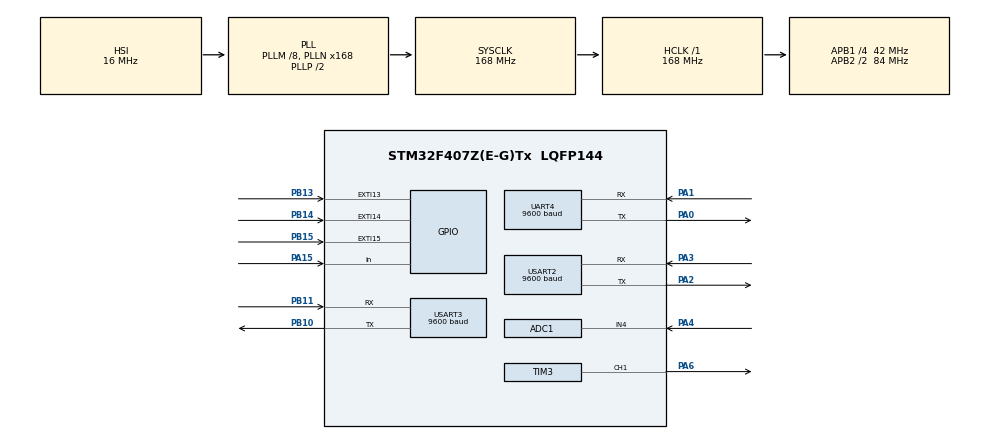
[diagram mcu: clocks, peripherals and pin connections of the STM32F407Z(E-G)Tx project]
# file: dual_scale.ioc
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ADC1.Channel-1\#ChannelRegularConversion=ADC_CHANNEL_4
ADC1.NbrOfConversionFlag=1
ADC1.Rank-1\#ChannelRegularConversion=1
ADC1.SamplingTime-1\#ChannelRegularConversion=ADC_SAMPLETIME_3CYCLES
ADC1.master=1
Dma.Request0=USART2_TX
Dma.Request1=USART2_RX
Dma.Request2=USART3_RX
Dma.Request3=USART3_TX
Dma.USART2_RX.1.Direction=DMA_PERIPH_TO_MEMORY
Dma.USART2_RX.1.FIFOMode=DMA_FIFOMODE_DISABLE
Dma.USART2_RX.1.Instance=DMA1_Stream5
Dma.USART2_RX.1.MemDataAlignment=DMA_MDATAALIGN_BYTE
Dma.USART2_RX.1.MemInc=DMA_MINC_ENABLE
Dma.USART2_RX.1.Mode=DMA_NORMAL
Dma.USART2_RX.1.PeriphDataAlignment=DMA_PDATAALIGN_BYTE
Dma.USART2_RX.1.PeriphInc=DMA_PINC_DISABLE
Dma.USART2_RX.1.Priority=DMA_PRIORITY_LOW
Dma.USART2_TX.0.Direction=DMA_MEMORY_TO_PERIPH
Dma.USART2_TX.0.FIFOMode=DMA_FIFOMODE_DISABLE
Dma.USART2_TX.0.Instance=DMA1_Stream6
Dma.USART2_TX.0.MemDataAlignment=DMA_MDATAALIGN_BYTE
Dma.USART2_TX.0.MemInc=DMA_MINC_ENABLE
Dma.USART2_TX.0.Mode=DMA_NORMAL
Dma.USART2_TX.0.PeriphDataAlignment=DMA_PDATAALIGN_BYTE
Dma.USART2_TX.0.PeriphInc=DMA_PINC_DISABLE
Dma.USART2_TX.0.Priority=DMA_PRIORITY_LOW
Dma.USART3_RX.2.Direction=DMA_PERIPH_TO_MEMORY
Dma.USART3_RX.2.FIFOMode=DMA_FIFOMODE_DISABLE
Dma.USART3_RX.2.Instance=DMA1_Stream1
Dma.USART3_RX.2.MemDataAlignment=DMA_MDATAALIGN_BYTE
Dma.USART3_RX.2.MemInc=DMA_MINC_ENABLE
Dma.USART3_RX.2.Mode=DMA_NORMAL
Dma.USART3_RX.2.PeriphDataAlignment=DMA_PDATAALIGN_BYTE
Dma.USART3_RX.2.PeriphInc=DMA_PINC_DISABLE
Dma.USART3_RX.2.Priority=DMA_PRIORITY_LOW
Dma.USART3_TX.3.Direction=DMA_MEMORY_TO_PERIPH
Dma.USART3_TX.3.FIFOMode=DMA_FIFOMODE_DISABLE
Dma.USART3_TX.3.Instance=DMA1_Stream3
Dma.USART3_TX.3.MemDataAlignment=DMA_MDATAALIGN_BYTE
Dma.USART3_TX.3.MemInc=DMA_MINC_ENABLE
Dma.USART3_TX.3.Mode=DMA_NORMAL
Dma.USART3_TX.3.PeriphDataAlignment=DMA_PDATAALIGN_BYTE
Dma.USART3_TX.3.PeriphInc=DMA_PINC_DISABLE
Dma.USART3_TX.3.Priority=DMA_PRIORITY_LOW
IWDG.Prescaler=IWDG_PRESCALER_128
Mcu.Family=STM32F4
Mcu.Name=STM32F407Z(E-G)Tx
Mcu.Package=LQFP144
NVIC.DMA1_Stream1_IRQn=true\:0\:0\:false\:false\:true\:false\:true\:true
NVIC.DMA1_Stream3_IRQn=true\:0\:0\:false\:false\:true\:false\:true\:true
NVIC.DMA1_Stream5_IRQn=true\:0\:0\:false\:false\:true\:false\:true\:true
NVIC.DMA1_Stream6_IRQn=true\:0\:0\:false\:false\:true\:false\:true\:true
NVIC.EXTI15_10_IRQn=true\:0\:0\:false\:false\:true\:true\:true\:true
NVIC.PriorityGroup=NVIC_PRIORITYGROUP_4
NVIC.TIM2_IRQn=true\:0\:0\:false\:false\:true\:true\:true\:true
NVIC.UART4_IRQn=true\:3\:0\:false\:false\:true\:true\:true\:true
NVIC.USART2_IRQn=true\:0\:0\:false\:false\:true\:true\:true\:true
NVIC.USART3_IRQn=true\:0\:0\:false\:false\:true\:true\:true\:true
PA0-WKUP.Mode=Asynchronous
PA0-WKUP.Signal=UART4_TX
PA1.Mode=Asynchronous
PA1.Signal=UART4_RX
PA13.Mode=Serial_Wire
PA13.Signal=SYS_JTMS-SWDIO
PA14.Mode=Serial_Wire
PA14.Signal=SYS_JTCK-SWCLK
PA15.GPIO_PuPd=GPIO_PULLUP
PA15.Signal=GPIO_Input
PA2.Mode=Asynchronous
PA2.Signal=USART2_TX
PA3.Mode=Asynchronous
PA3.Signal=USART2_RX
PA4.Signal=ADCx_IN4
PA6.Signal=S_TIM3_CH1
PB10.Mode=Asynchronous
PB10.Signal=USART3_TX
PB11.Mode=Asynchronous
PB11.Signal=USART3_RX
PB13.GPIO_ModeDefaultEXTI=GPIO_MODE_IT_FALLING
PB13.GPIO_PuPd=GPIO_PULLUP
PB13.Signal=GPXTI13
PB14.GPIO_ModeDefaultEXTI=GPIO_MODE_IT_FALLING
PB14.GPIO_PuPd=GPIO_PULLUP
PB14.Signal=GPXTI14
PB15.GPIO_ModeDefaultEXTI=GPIO_MODE_IT_FALLING
PB15.GPIO_PuPd=GPIO_PULLUP
PB15.Signal=GPXTI15
PH0-OSC_IN.Mode=HSE-External-Oscillator
PH0-OSC_IN.Signal=RCC_OSC_IN
PH1-OSC_OUT.Mode=HSE-External-Oscillator
PH1-OSC_OUT.Signal=RCC_OSC_OUT
ProjectManager.HeapSize=0x200
ProjectManager.StackSize=0x1000
ProjectManager.TargetToolchain=MDK-ARM V5.32
RCC.48MHZClocksFreq_Value=84000000
RCC.AHBFreq_Value=168000000
RCC.APB1CLKDivider=RCC_HCLK_DIV4
RCC.APB1Freq_Value=42000000
RCC.APB1TimFreq_Value=84000000
RCC.APB2CLKDivider=RCC_HCLK_DIV2
RCC.APB2Freq_Value=84000000
RCC.APB2TimFreq_Value=168000000
RCC.CortexFreq_Value=168000000
RCC.HCLKFreq_Value=168000000
RCC.HSE_VALUE=8000000
RCC.HSI_VALUE=16000000
RCC.LSE_VALUE=32768
RCC.PLLM=8
RCC.PLLN=168
RCC.SYSCLKFreq_VALUE=168000000
RCC.SYSCLKSource=RCC_SYSCLKSOURCE_PLLCLK
RCC.VCOOutputFreq_Value=336000000
SH.ADCx_IN4.0=ADC1_IN4,IN4
SH.S_TIM3_CH1.0=TIM3_CH1,PWM Generation1 CH1
TIM2.AutoReloadPreload=TIM_AUTORELOAD_PRELOAD_ENABLE
TIM2.Period=999
TIM2.Prescaler=8399
TIM3.Channel-PWM\ Generation1\ CH1=TIM_CHANNEL_1
TIM3.Period=499
TIM3.Prescaler=83
UART4.BaudRate=9600
UART4.VirtualMode=Asynchronous
USART2.BaudRate=9600
USART2.VirtualMode=VM_ASYNC
USART3.BaudRate=9600
USART3.VirtualMode=VM_ASYNC
VP_IWDG_VS_IWDG.Mode=IWDG_Activate
VP_TIM10_VS_ClockSourceINT.Mode=Enable_Timer
VP_TIM2_VS_ClockSourceINT.Mode=Internal
board=custom

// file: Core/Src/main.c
/* USER CODE BEGIN Header */
/**
  ******************************************************************************
  * @file           : main.c
  * @brief          : Main program body
  ******************************************************************************
  * @attention
  *
  * Copyright (c) 2026 STMicroelectronics.
  * All rights reserved.
  *
  * This software is licensed under terms that can be found in the LICENSE file
  * in the root directory of this software component.
  * If no LICENSE file comes with this software, it is provided AS-IS.
  *
  ******************************************************************************
  */
/* USER CODE END Header */
#include "main.h"
#include "adc.h"
#include "dma.h"
#include "iwdg.h"
#include "tim.h"
#include "usart.h"
#include "gpio.h"

/* USER CODE BEGIN Includes */
#include "dwt_time.h"
#include "qsh_drv.h"
#include "dbg_uart.h"
#include "app/app_zero.h"
#include "keys.h"
#include "digit_tube.h"
#include "beeper.h"
#include "app/app_scale.h"
#include "app/app_calib.h"
#include "app/app_prep.h"
/* USER CODE END Includes */

/* USER CODE BEGIN PD */

/* —— 自动休眠（2026-11-15：改为“睡前打标记 + 软复位”方案）——
   连续 SLEEP_QUIET_MS 内实时质量都在 ±SLEEP_BAND_G 内，且无称量事件/
   清零/预备/录制/按键，则 2 短鸣 → 数码管亮度 0 → BKP 打标记 → 软复位。
   复位后的“睡眠启动”不启动 IWDG、直接 STOP；按键 EXTI 唤醒后整机复位，
   回到正常启动（IWDG 重新开启）。原因：IWDG 由 LSI 驱动，在 STOP 里仍然
   计数，不这么做会被每 5.58~15.4 s 复位一次，根本睡不住。 */
#ifndef SLEEP_AUTO_ENABLE
#define SLEEP_AUTO_ENABLE     1        /* 调试期置 0（或 -DSLEEP_AUTO_ENABLE=0）整体禁用 */
#endif
#define SLEEP_QUIET_MS        300000U    /* 5 分钟空载窗口 */
#define SLEEP_BAND_G          3.0
#define SLEEP_BEEP_SETTLE_MS  350U
#define SLEEP_BKP_MAGIC       0x57444753UL  /* "WDGS"：BKP0R 睡眠请求标记 */

/* —— 电池低压检测（2026-11-15）——
   PA4/ADC1_IN4：12V—100k—PA4—20k—GND，分压比 6。
   低于 11.4V 报警、高于 11.6V 清除（0.2V 迟滞）；3 短鸣 + 数码管
   "11.4U" 闪 10s → 直接休眠。低电期间禁用 KEY4 标定；10s 内长按中键
   可取消强制休眠（应急使用）。 */
#define BAT_WARN_MV      11400U          /* 报警门限 */
#define BAT_CLEAR_MV     11600U          /* 清除门限（迟滞 +0.2V）*/
#define BAT_VREF_MV      3300U
#define BAT_ADC_MAX      4095U
#define BAT_DIV          6U              /* (100k+20k)/20k */
#define BAT_N            16U             /* 中值滤波样本数 */
#define BAT_SLEEP_MS     10000U          /* 提醒后强制休眠延时 */

/* 调试期置 1：STOP 时保持 SWD（DBGMCU_CR.DBG_STOP）；量产必须为 0 */
#ifndef SLEEP_KEEP_SWD
#define SLEEP_KEEP_SWD        0
#endif

/* USER CODE END PD */

/* USER CODE BEGIN PV */
static AppScale g_scale;
static AlgoParams app_params_bench;
static AppZero g_zero;
static AppPrep g_prep;
static uint8_t g_rdLevel, g_rdActive, g_prevSt;
static uint8_t g_prevZero;
static double g_rdMass;
static uint32_t g_rdHoldUntil;
static double g_sampleT;
static uint32_t g_lastDispTick;
static uint8_t g_prevRecArm = 0U;  /* g_recArm 沿检测（算法暂停/恢复）*/
static uint8_t g_warmupBeep = 1U;  /* 上电建基线阶段："---" 闪烁同步短鸣（首次 ready 后关）*/
static uint8_t g_blinkOn = 0U;     /* "---" 亮半拍沿检测（每周期只响一次，防 200ms 刷屏连响）*/
#if (SLEEP_AUTO_ENABLE != 0)
static uint8_t  g_quietArmed = 0U;   /* 空载计时已启动 */
static uint32_t g_quietT0 = 0U;      /* 空载计时起点（HAL tick）*/
static uint8_t  g_sleepPending = 0U; /* 已 2 短鸣，等响完进 STOP */
static uint32_t g_sleepAt = 0U;      /* 计划进 STOP 的时刻 */
#endif
static uint8_t g_bootIwdgReset = 0U; /* 本次启动是 IWDG 复位（供启动日志）*/
static uint8_t g_bkpOk = 1U;         /* 正常启动时 BKP0R 写/读自检结果 */
static uint8_t  g_key4Armed = 1U;    /* KEY4 开机 10 s 窗口内可触发标定 */
static uint8_t  g_key4Held = 0U;     /* KEY4 按住计时中 */
static uint32_t g_key4T0 = 0U;       /* KEY4 按下时刻 */
static uint8_t  g_calReq = 0U;       /* 已连响三下，等建基线完成后进标定 */
static uint8_t  g_calBeep = 0U;      /* 待补响“连响三下”（避开忙时丢弃）*/
static uint32_t g_batMv = 0U;        /* 最近一次电池电压（mV）*/
static uint32_t g_batChkTick = 0U;   /* 上次检测时刻；0 = 还没测过 */
static uint32_t g_lowBatT0 = 0U;     /* 低电报警起始时刻 */
static uint8_t  g_lowBat = 0U;       /* 当前处于低电提醒 */
static uint8_t  g_lowBatCancel = 0U; /* 用户已取消强制休眠 */
static uint8_t  g_lowBatMuted = 0U;  /* 本次开机不再重复报警 */
static uint8_t  g_batLowEver = 0U;   /* 本次开机出现过低电（禁 KEY4 标定）*/
/* USER CODE END PV */

void SystemClock_Config(void);

/* USER CODE BEGIN 0 */

/* u64 → 十进制字符串（不依赖 printf 的 %llu 实现） */
static void u64str(uint64_t v, char *out)
{
  char tmp[21];
  uint8_t n = 0U;

  if (v == 0U)
  {
    out[0] = '0';
    out[1] = '\0';
    return;
  }
  while ((v > 0U) && (n < sizeof(tmp)))
  {
    tmp[n++] = (char)('0' + (v % 10U));
    v /= 10U;
  }
  while (n > 0U)
  {
    *out++ = tmp[--n];
  }
  *out = '\0';
}

static void EmitEvent(const char *name)
{
  char tb[21];
  u64str(DwtTime_NowUs(), tb);
  Dbg_Line("# EVENT %s %s", name, tb);
}

static void HeartbeatOnce(void)
{
  QshStat_t st[QSH_NCH];

  QshDrv_GetStats(st);
  Dbg_Line("# STAT A ok=%lu crc=%lu fe=%lu tx=%lu ack=%lu fail=%lu z=%lu drop=%lu | "
           "B ok=%lu crc=%lu fe=%lu tx=%lu ack=%lu fail=%lu z=%lu drop=%lu ready=%u",
           st[0].readOk, st[0].crcErr, st[0].frameErr, st[0].txBusy,
           st[0].cfgAck, st[0].cfgFail, st[0].zeroAck, st[0].ringDrop,
           st[1].readOk, st[1].crcErr, st[1].frameErr, st[1].txBusy,
           st[1].cfgAck, st[1].cfgFail, st[1].zeroAck, st[1].ringDrop,
           (unsigned int)QshDrv_Ready());
}

/* —— 独立看门狗（2026-11-15）——
   参数由 CubeMX 的 `MX_IWDG_Init()` 决定（当前 .ioc：预分频 128 + RLR 4095）：
     典型 16.38 s @32 kHz；最快 11.15 s（LSI 47 kHz）~ 最慢 30.84 s（17 kHz）。
   Flash 擦除最大按 4 s，余量充足；代价是卡死要 11~31 s 才复位。
   喂狗统一写 KR=0xAAAA，与预分频无关；改预分频只需改 .ioc，不用动这里。
   option byte 必须是软件启动（IWDG_SW=1），否则复位关不掉它（睡眠方案依赖这点）。 */
void AppWdg_Feed(void)
{
  IWDG->KR = 0xAAAAU;                 /* 重装计数 */
}

/* —— 睡眠启动判定（2026-11-15）——
   只有“软件复位(SFTRST) + BKP0R 魔术值”同时成立才算睡眠请求。
   加复位原因判断是为了防 VBAT 保持 BKP 时，整机断电再上电被误判成
   睡眠启动（设备会像死机一样躺着）。 */
static int BootIsSleepRequest(void)
{
  return (((RCC->CSR & RCC_CSR_SFTRSTF) != 0U)
          && (RTC->BKP0R == SLEEP_BKP_MAGIC)) ? 1 : 0;
}

/* —— 睡眠启动：不启动 IWDG，不初始化 UART/数码管/驱动 ——
   只做四件事：蜂鸣器拉低、按键 EXTI、485 四脚高阻、进 STOP。
   醒来即整机复位，回到正常启动。 */
static void SleepBoot(void)
{
  GPIO_InitTypeDef g = {0};

  /* 1) 蜂鸣器先拉低：复位后 PA6 是浮空输入，先钉住防毛刺 */
  __HAL_RCC_GPIOA_CLK_ENABLE();
  g.Pin   = GPIO_PIN_6;
  g.Mode  = GPIO_MODE_OUTPUT_PP;
  g.Pull  = GPIO_NOPULL;
  g.Speed = GPIO_SPEED_FREQ_LOW;
  HAL_GPIO_WritePin(GPIOA, GPIO_PIN_6, GPIO_PIN_RESET);
  HAL_GPIO_Init(GPIOA, &g);

  /* 2) 按键 + EXTI（MX_GPIO_Init 只配 PB13/14/15 与 EXTI15_10）*/
  MX_GPIO_Init();

  /* 3) 485 四脚模拟高阻（防向断电模块倒灌）*/
  __HAL_RCC_GPIOB_CLK_ENABLE();
  g.Mode = GPIO_MODE_ANALOG;
  g.Pull = GPIO_NOPULL;
  g.Pin  = GPIO_PIN_2 | GPIO_PIN_3;     /* USART2 TX/RX */
  HAL_GPIO_Init(GPIOA, &g);
  g.Pin  = GPIO_PIN_10 | GPIO_PIN_11;   /* USART3 TX/RX */
  HAL_GPIO_Init(GPIOB, &g);

#if (SLEEP_KEEP_SWD != 0)
  DBGMCU->CR |= DBGMCU_CR_DBG_STOP;     /* 调试用；量产必须为 0 */
#endif

  /* 4) 清 pending、停 SysTick、进 STOP；按键唤醒 → 整机复位 */
  __HAL_GPIO_EXTI_CLEAR_IT(GPIO_PIN_13 | GPIO_PIN_14 | GPIO_PIN_15);
  NVIC_ClearPendingIRQ(EXTI15_10_IRQn);
  HAL_SuspendTick();
  HAL_PWR_EnterSTOPMode(PWR_LOWPOWERREGULATOR_ON, PWR_STOPENTRY_WFI);
  NVIC_SystemReset();
  for (;;)
  {
  }
}

/* —— 拓展板 KEY4（PA15）：输入、内部上拉、按下低电平 ——
   PA15 复位后是 JTDI（AF0）；F4 上把它配成普通输入即可当 GPIO 用，
   SWD 仍在 PA13/PA14，不影响下载/调试。 */
static void Key4_Init(void)
{
  GPIO_InitTypeDef g = {0};

  __HAL_RCC_GPIOA_CLK_ENABLE();
  g.Pin  = GPIO_PIN_15;
  g.Mode = GPIO_MODE_INPUT;
  g.Pull = GPIO_PULLUP;
  HAL_GPIO_Init(GPIOA, &g);
}

/* —— 电池电压：16 次采集中值，返回 mV；ADC 失败返回 0xFFFFFFFF ——
   分压 12V—100k—PA4—20k—GND（比 6），ADC 12bit、VDDA=3.3V。
   采样时间已改 480 周期（adc.c），匹配 16.7k 源阻抗。 */
static uint32_t BatVolt_ReadMv(void)
{
  uint16_t v[BAT_N];
  uint8_t i, j;
  uint16_t t;
  uint32_t code;

  for (i = 0U; i < BAT_N; i++)
  {
    if (HAL_ADC_Start(&hadc1) != HAL_OK) return 0xFFFFFFFFU;
    if (HAL_ADC_PollForConversion(&hadc1, 5U) != HAL_OK)
    {
      (void)HAL_ADC_Stop(&hadc1);
      return 0xFFFFFFFFU;
    }
    v[i] = (uint16_t)HAL_ADC_GetValue(&hadc1);
    (void)HAL_ADC_Stop(&hadc1);
  }
  /* 插入排序取中值（16 个元素，开销量可忽略）*/
  for (i = 1U; i < BAT_N; i++)
  {
    t = v[i];
    j = i;
    while ((j > 0U) && (v[j - 1U] > t))
    {
      v[j] = v[j - 1U];
      j--;
    }
    v[j] = t;
  }
  code = ((uint32_t)v[BAT_N / 2U - 1U] + (uint32_t)v[BAT_N / 2U]) / 2U;
  return (uint32_t)(((uint64_t)code * (uint64_t)BAT_VREF_MV * BAT_DIV)
                    / BAT_ADC_MAX);
}

/* —— 低电显示文本：11.4V → "11.4U"（U = 请充电，模块字库需实测）—— */
static void Bat_ShowVoltage(void)
{
  char b[8];
  uint32_t whole, frac;

  if (g_batMv == 0xFFFFFFFFU) return;
  whole = g_batMv / 1000U;
  frac  = (g_batMv % 1000U) / 100U;
  if (whole >= 10U)
  {
    b[0] = (char)('0' + (whole / 10U));
    b[1] = (char)('0' + (whole % 10U));
    b[2] = '.';
    b[3] = (char)('0' + frac);
    b[4] = 'U';
    b[5] = '\0';
  }
  else
  {
    b[0] = (char)('0' + whole);
    b[1] = '.';
    b[2] = (char)('0' + frac);
    b[3] = 'U';
    b[4] = '\0';
  }
  DigitTube_SetText(b);
}

#if (SLEEP_AUTO_ENABLE != 0)
/* —— 自动休眠：前提判定（2026-11-14）——
   读数就绪且在 ±SLEEP_BAND_G、无称量事件/清零/预备/录制、无按键、双通道
   数据新鲜（<500 ms）。任一条件不满足都要重新计满 SLEEP_QUIET_MS。 */
static int SleepConditionOk(void)
{
  int32_t ca = 0, cb = 0;
  uint32_t ageA = 0U, ageB = 0U;
  int ready = 0;
  double m;

  if ((QshDrv_Last(QSH_CH_A_REF, &ca, &ageA) == 0) || (ageA > 500U)) return 0;
  if ((QshDrv_Last(QSH_CH_B_MEAS, &cb, &ageB) == 0) || (ageB > 500U)) return 0;

  m = AppScaleLiveMass(&g_scale, &ready);
  if (ready == 0) return 0;
  if ((m < -SLEEP_BAND_G) || (m > SLEEP_BAND_G)) return 0;
  /* 只看 state：est.locked 是"本事件曾锁定"标志，REARM 时不会被清
     （algo_est 的 near_n 分支只清 state），拿它当"当前是否在称量"用
     会导致第一次称量之后自动休眠永远不触发。 */
  if (g_scale.est.state != 0) return 0;
  if (g_scale.calib_collect != 0U) return 0;
  if (g_zero.state != ZO_IDLE) return 0;
  if (g_prep.state != PP_IDLE) return 0;
  if (g_recArm != 0U) return 0;
  if ((Keys_IsPressed(0U) != 0) || (Keys_IsPressed(1U) != 0)
      || (Keys_IsPressed(2U) != 0)) return 0;
  return 1;
}

/* —— 睡前序列（2026-11-15：不再直接进 STOP，改为打标记 + 软复位）——
   2 短鸣由调用方先发；这里负责：停轮询 → 蜂鸣器静音 → 数码管亮度 0 并等
   这一帧发完 → BKP0R 打标记 → 软复位。复位后的 SleepBoot 不启动 IWDG、
   直接 STOP；按键唤醒再整机复位回正常启动。复位本身会把 UART 引脚复位成
   浮空，所以这里不需要 DeInit UART / 置 analog。 */
static void RequestSleepReset(void)
{
  uint8_t i;

  /* 1) 停 10Hz 轮询，避免复位前还在发帧 */
  (void)HAL_TIM_Base_Stop_IT(&htim2);

  /* 2) 蜂鸣器静音 */
  Beeper_Init();

  /* 3) 数码管亮度 0：复位不清屏，必须先把这一帧真正发完 */
  DigitTube_SetBrightness(0U);
  for (i = 0U; i < 60U; i++)
  {
    DigitTube_Process();
    if (HAL_UART_GetState(&huart4) == HAL_UART_STATE_READY)
    {
      break;
    }
    HAL_Delay(1U);
  }
  HAL_Delay(10U);

  /* 4) 打 BKP 标记后软复位（备份寄存器跨系统复位保留；VBAT 掉电才清）*/
  HAL_PWR_EnableBkUpAccess();
  RTC->BKP0R = SLEEP_BKP_MAGIC;
  NVIC_SystemReset();
  for (;;)
  {
  }
}
#endif /* SLEEP_AUTO_ENABLE */

/* USER CODE END 0 */

int main(void)
{

  /* MCU Configuration--------------------------------------------------------*/

  /* Reset of all peripherals, Initializes the Flash interface and the Systick. */
  HAL_Init();

  /* USER CODE BEGIN Init */

  /* —— 睡眠启动判定（必须在清 reset flags 之前读 CSR）——
     BKP0R 属 RTC 备份域：F407 没有 RTCAPBEN 位（APB1ENR bit28 是 PWREN），
     RTC APB 接口常开，只需要 PWR 时钟；写 BKP 前还要 DBP=1。 */
  __HAL_RCC_PWR_CLK_ENABLE();
  g_bootIwdgReset = ((RCC->CSR & RCC_CSR_IWDGRSTF) != 0U) ? 1U : 0U;
  if (BootIsSleepRequest() != 0)
  {
    /* 先清标记：这样睡眠期间任何复位都会回正常启动，不会“躺死” */
    HAL_PWR_EnableBkUpAccess();
    RTC->BKP0R = 0U;
    __HAL_RCC_CLEAR_RESET_FLAGS();
    SleepBoot();                      /* 不返回 */
  }
  /* 正常启动：先做一次 BKP 写/读自检（确认备份域可访问），再清标记 */
  HAL_PWR_EnableBkUpAccess();
  RTC->BKP0R = 0x1234ABCDUL;
  g_bkpOk = (RTC->BKP0R == 0x1234ABCDUL) ? 1U : 0U;
  RTC->BKP0R = 0U;
  __HAL_RCC_CLEAR_RESET_FLAGS();

  /* USER CODE END Init */

  /* Configure the system clock */
  SystemClock_Config();

  /* Initialize all configured peripherals */
  MX_GPIO_Init();
  MX_DMA_Init();
  MX_USART2_UART_Init();
  MX_TIM2_Init();
  MX_USART3_UART_Init();
  MX_UART4_Init();
  MX_TIM3_Init();
  MX_TIM10_Init();
  MX_ADC1_Init();
  MX_IWDG_Init();
  /* USER CODE BEGIN 2 */
  /* IWDG 参数以 CubeMX/.ioc 为准（预分频 128 + 4095），这里只加调试冻结 */
  __HAL_DBGMCU_FREEZE_IWDG();       /* 调试断点时不复位；量产无影响 */
  DwtTime_Init();
  Dbg_Init();
  if (g_bootIwdgReset != 0U)
  {
    Dbg_Line("# RESET iwdg (watchdog)");
  }
  if (g_bkpOk == 0U)
  {
    Dbg_Line("# WARN RTC BKP write/read failed");
  }
  Keys_Init();
  Key4_Init();              /* 拓展板 KEY4（PA15，开机标定触发键）*/
  QshDrv_Init();            /* 收帧启动 + 模块配置状态机，就绪后 TIM2 自动轮询 */
  HAL_TIM_Base_Start_IT(&htim2);
  Beeper_Init();            /* PWM 启动后立即静音（上电不响）*/
  DigitTube_Init();         /* 上电显示 666，随后显示 B 通道内码 */
  app_params_bench = algo_params_default;
  /* 台架占位值：仅 Flash 无效时使用，首次 prep 即被覆盖。2026-10-31 现场
     验证 6kg 容量参数不改内码密度（旧 k 下 500g 读 499.7g），占位 k 仍有效。
     z_A/z_B 仅诊断快照，不参与算法。*/
  app_params_bench.k_g_per_r = 1467.9;        /* TODO(M-C3): Flash 标定 */
  app_params_bench.r_empty = 0.35222;         /* 516/(465+1000) */
  app_params_bench.zero_codes_a = 20220.0;
  app_params_bench.zero_codes_b = 14401.0;
  app_params_bench.presence_center_codes = 90100.0;
  AppScaleInit(&g_scale, &app_params_bench);
  memset(&g_zero, 0, sizeof(g_zero));
  memset(&g_prep, 0, sizeof(g_prep));
  if (AppCalibLoad(&g_scale) != 0)
  {
    Dbg_Line("# CALIB loaded from flash: k=%.1f r_empty=%.5f center=%.0f",
             g_scale.p.k_g_per_r, g_scale.p.r_empty,
             g_scale.p.presence_center_codes);
  }
  else
  {
    Dbg_Line("# CALIB flash empty/invalid -> defaults (need calibration)");
  }
  Dbg_Line("# APP_SCALE init (algo incremental, M-C3)");

  Dbg_Line("# BOOT dual_scale fw_v2 (neima 0x17, t_us CSV)");
  Dbg_Line("# FORMAT t_us,sensor,code,seq,dup  sensor:0=A_ref(USART3) 1=B_meas(USART2)");
  /* USER CODE END 2 */

  /* Infinite loop */
  /* USER CODE BEGIN WHILE */
  {
    QshSample_t smp;
    KeyEv_t ev;
    uint32_t lastBeat = HAL_GetTick();
    uint32_t lastBTick = HAL_GetTick();
    uint8_t  tubeBlack = 0U;

    while (1)
    {
      Keys_Process();
      QshDrv_Process();
      DigitTube_Process();
      Beeper_Process();

      /* 样本 → CSV + 增量算法引擎。录制模式（g_recAlgoHold=1）跳过：
         样本只入环积累供调试器导出——若弹出读到的不是传感器数据而是
         g_scale 内存垃圾，算法会收到无效时间戳导致主循环卡死。*/
      if (g_recAlgoHold == 0U)
      {
      while (QshDrv_PopSample(&smp) != 0)
      {
        char tb[21];
        double tsmp = (double)smp.tUs / 1e6;
        u64str(smp.tUs, tb);
        Dbg_Line("%s,%u,%ld,%lu,%u", tb, (unsigned int)smp.ch, smp.code,
                 (unsigned long)smp.seq, (unsigned int)smp.dup);
        g_sampleT = tsmp;
        AppScaleFeed(&g_scale, tsmp,
                     (smp.ch == QSH_CH_A_REF) ? 0 : 1, smp.code);
        AppScaleProcess(&g_scale, tsmp);
        if (smp.ch == QSH_CH_B_MEAS)
        {
          lastBTick = HAL_GetTick();
          tubeBlack = 0U;
        }
        for (;;)
        {
          AppEvent aev = AppScalePopEvent(&g_scale);
          if (aev.type == APP_EV_NONE) break;
          if (aev.type == APP_EV_ALIGN)
          {
            Dbg_Line("# ALIGN t=%u.%03u ok=%u calm=%u tau=%d(0.1ms) n=%d",
                     (unsigned)aev.align.t,
                     (unsigned)((aev.align.t - (double)(unsigned)aev.align.t) * 1000.0),
                     (unsigned)aev.align.ok, (unsigned)aev.align.calm,
                     (int)(aev.align.tau * 10000.0), aev.align.n_pts);
          }
          else
          {
            /* 读数事件：锁定后数码管显示"锁定读数"（收敛值）而非
               瞬时值——运动中瞬时值必然波动（差分倾斜/失配泄漏是
               物理残余，由收敛窗平均掉），观众要看的稳定准确值
               就是锁定读数（S6/2a 验证的量）*/
            if (aev.type == APP_EV_READING)
            {
              g_rdActive = 1U;
              g_rdMass = aev.mass_g;
              g_rdLevel = 0U;             /* 新称量开始：常亮 */
            }
            else if (aev.type == APP_EV_REFINE)
            {
              g_rdMass = aev.mass_g;      /* 精化刷新锁定值 */
            }
            else if (aev.type == APP_EV_REARM)
            {
              /* 移除：直接回实时显示（≈0.0）——冻结/闪烁会造成"先回
                 0.0 又弹回旧值闪 5s"的反直觉序列；读数早在取下前已
                 持续展示，无需再冻结抄录 */
              g_rdActive = 0U;
              g_rdLevel = 0U;
              g_rdHoldUntil = 0U;
            }
            else if (aev.type == APP_EV_RESTEP)
            {
              /* 盘中增减定稿：不冻结不闪，切实时值快速收敛到新锁定 */
              g_rdActive = 0U;
              g_rdLevel = 0U;
              g_rdHoldUntil = 0U;
            }
            Dbg_Line("# READ ev=%u t=%u.%03u mass=%d mg level=%u",
                     (unsigned)aev.type, (unsigned)aev.t,
                     (unsigned)((aev.t - (double)(unsigned)aev.t) * 1000.0),
                     (int)(aev.mass_g * 1000.0), (unsigned)aev.level);
          }
        }
      }
      }

/* B 通道断流 >3s：数码管黑屏（通信故障可见） */
      if ((tubeBlack == 0U) && ((HAL_GetTick() - lastBTick) > 3000U))
      {
        DigitTube_ShowBlackScreen();
        tubeBlack = 1U;
      }

      /* —— 电池低压：开机 + 每 10 s 复检（11.4V 报警 / 11.6V 清除）—— */
      {
        uint32_t nowB = HAL_GetTick();
        if ((g_batChkTick == 0U)
            || ((uint32_t)(nowB - g_batChkTick) >= 10000U))
        {
          uint32_t mv = BatVolt_ReadMv();
          uint8_t first = (g_batChkTick == 0U) ? 1U : 0U;
          g_batChkTick = nowB;
          if (mv != 0xFFFFFFFFU)
          {
            g_batMv = mv;
            if (first != 0U)
            {
              Dbg_Line("# BAT %lu mV", (unsigned long)mv);
            }
            if ((g_lowBat == 0U) && (g_lowBatMuted == 0U)
                && (mv < BAT_WARN_MV))
            {
              g_lowBat = 1U;
              g_lowBatT0 = nowB;
              g_batLowEver = 1U;
              g_warmupBeep = 0U;        /* 停建基线提示音，突出低电三连响 */
              Beeper_Beep(3U, 80U, 80U);
              Dbg_Line("# BAT low %lu mV -> charge, sleep in 10s",
                       (unsigned long)mv);
            }
            else if ((g_lowBat != 0U) && (mv > BAT_CLEAR_MV))
            {
              g_lowBat = 0U;
              Dbg_Line("# BAT ok %lu mV", (unsigned long)mv);
            }
          }
        }
        if ((g_lowBat != 0U) && (g_lowBatCancel == 0U)
            && ((uint32_t)(nowB - g_lowBatT0) >= BAT_SLEEP_MS))
        {
#if (SLEEP_AUTO_ENABLE != 0)
          Dbg_Line("# BAT sleep");
          RequestSleepReset();          /* 不返回 */
#else
          g_lowBat = 0U;
#endif
        }
      }

      /* —— 拓展板 KEY4（PA15）：开机 10 s 内持续按住 2 s 触发标定 ——
         触发后连响三下；等建基线完成（--- 消失）再进入预备标定。
         窗口一旦错过（>10 s）本次开机不再触发。 */
      if (g_batLowEver != 0U)
      {
        g_key4Armed = 0U;               /* 低电：禁止标定（弱电写 Flash 危险）*/
      }
      if (g_key4Armed != 0U)
      {
        uint32_t now4 = HAL_GetTick();
        if (now4 < 10000U)
        {
          if (HAL_GPIO_ReadPin(GPIOA, GPIO_PIN_15) == GPIO_PIN_RESET)
          {
            if (g_key4Held == 0U)
            {
              g_key4Held = 1U;
              g_key4T0 = now4;
            }
            else if ((uint32_t)(now4 - g_key4T0) >= 2000U)
            {
              g_key4Armed = 0U;
              g_calReq = 1U;
              g_calBeep = 1U;
              g_warmupBeep = 0U;      /* 停建基线提示音，保证三声完整 */
              Dbg_Line("# CAL trigger (KEY4)");
            }
          }
          else
          {
            g_key4Held = 0U;
          }
        }
        else
        {
          g_key4Armed = 0U;           /* 10 s 窗口结束，本次开机不再触发 */
        }
      }
      if ((g_calBeep != 0U) && (Beeper_Busy() == 0U))
      {
        g_calBeep = 0U;
        Beeper_Beep(3U, 80U, 80U);    /* 连响三下：标定已触发 */
      }

      /* 录制模式：数码管显示 B 通道原始码/10（M1 行为）*/
      if (g_recAlgoHold != 0U)
      {
        int32_t cb2;
        uint32_t agB2;
        if (QshDrv_Last(QSH_CH_B_MEAS, &cb2, &agB2) != 0)
        {
          int32_t shown = cb2 / 10;
          if (shown > 9999)       { shown = 9999; }
          else if (shown < -9999) { shown = -9999; }
          DigitTube_ShowInteger(shown);
        }
      }

      /* —— g_recArm 运行时切换（M-C4 录制模式，调试器驱动）——
         写 1 → 暂停算法，QshDrv_RecBegin 让 g_scale 内存作大环
         写 0 或录满 → QshDrv_RecEnd 恢复小环，AppScaleInit 重启算法 */
      /* 仅 g_recArm 下降沿退出录制（录满不自动退出——数据须保留
         到调试器导出完成，AppScaleInit 的 memset 会清掉录制缓冲）*/
      if (g_recArm != g_prevRecArm)
      {
        if (g_recArm != 0U && g_prevRecArm == 0U)
        {
          /* 上升沿：进入录制 */
          QshDrv_RecBegin(&g_scale, sizeof(g_scale));
          Dbg_Line("# REC begin buf=0x%08X cap=%u", g_recBufAddr, s_ringCap);
        }
        else if (g_recArm == 0U && g_prevRecArm != 0U)
        {
          /* 下降沿：退出录制（数据已由调试器导出），重启算法 */
          QshDrv_RecEnd();
          AppScaleInit(&g_scale, &app_params_bench);
          (void)AppCalibLoad(&g_scale);
          Dbg_Line("# REC end count=%lu, algo restarted", g_recCount);
        }
        g_prevRecArm = g_recArm;
      }

/* —— 按键分发（2026-11-15 新映射）——
         KEY0/PB13 长按 = 无功能（保留为唤醒源）
         KEY1/PB14 长按 = 清零（空盘零点重锚）进入/中止
         KEY2/PB15 长按 = 修正 k（带 500 g 标准砝码的跨度校正）进入/中止
         KEY4/PA15     = 开机 10 s 内按住 2 s 触发标定（见上方 KEY4 检测）
   中键只做清零、不再自动分流到跨度校正——避免“想清零却把 k 改了”。 */
      {
        int evZero = 0;
        int evSpan = 0;
        int zeroed;
        (void)Keys_Take(0U);              /* KEY0 长按无功能，消费掉事件 */
        ev = Keys_Take(1U);
        if (ev == KEY_EV_LONG)
        {
          if ((g_lowBat != 0U) && (g_lowBatCancel == 0U))
          {
            /* 低电提醒期间长按中键：取消强制休眠，允许应急使用 */
            g_lowBatCancel = 1U;
            g_lowBatMuted = 1U;
            Dbg_Line("# BAT cancel (use anyway)");
          }
          else if ((g_prep.state == PP_IDLE) && (g_recArm == 0U)
                   && (g_recAlgoHold == 0U))
          {
            /* 中键：只做清零（空盘零点重锚），不再自动分流到跨度校正 */
            evZero = 1;
          }
        }
        ev = Keys_Take(2U);
        if (ev == KEY_EV_LONG)
        {
          /* 左键：修正 k（500 g 跨度校正）*/
          if ((g_prep.state == PP_IDLE) && (g_recArm == 0U)
              && (g_recAlgoHold == 0U))
          {
            evSpan = 1;
          }
        }
        zeroed = AppZeroPoll(&g_zero, &g_scale,
                             (double)HAL_GetTick() / 1000.0, evZero, evSpan);
        /* 开始沿：长按成功进入采集（ZO_IDLE→ZO_COLLECT/SPAN）——
           1 短提示"操作已开始、可松手"。必须与完成音（零点 2 短 /
           跨度 1 长）区分开，否则与零点完成同为 2 短会混淆（实测：
           误把开始音当完成，见 "---" 仍在闪）。 */
        if ((g_prevZero == (uint8_t)ZO_IDLE)
            && ((g_zero.state == ZO_COLLECT) || (g_zero.state == ZO_SPAN)))
        {
          Beeper_Beep(1U, 80U, 0U);
        }
        if (zeroed == 1)
        {
          EmitEvent("ZERO_OK");
          Beeper_Ok();                            /* 2短：零点重锚成功 */
          Dbg_Line("# ZERO ok sigma=%.3fg offset=%+.3fg n=%d",
                   g_zero.sigma_g, g_zero.offset_g, g_zero.n_used);
        }
        else if (zeroed == 2)
        {
          EmitEvent("ZERO_SPAN_OK");
          Beeper_Beep(1U, 200U, 100U);            /* 1长：跨度校正成功
                                                     （区别于零点的 2 短）*/
          Dbg_Line("# ZERO span ok k_old=%.2f k_new=%.2f "
                   "sigma=%.3fg off=%+.3fg n=%d",
                   g_zero.k_old, g_scale.p.k_g_per_r,
                   g_zero.sigma_g, g_zero.offset_g, g_zero.n_used);
        }
        if ((g_zero.state == ZO_RESULT)
            && (g_prevZero != (uint8_t)ZO_RESULT))
        {
          EmitEvent("ZERO_FAIL");
          if (g_zero.linger_code == 7777)
          {
            Beeper_Error();                       /* 1长：k 超范围（硬错误）*/
          }
          else
          {
            Beeper_Fail();                        /* 3短：9100/9200/9300 */
          }
          Dbg_Line("# ZERO fail code=%d sigma=%.3fg offset=%+.3fg n=%d",
                   g_zero.linger_code, g_zero.sigma_g, g_zero.offset_g,
                   g_zero.n_used);
        }
        g_prevZero = (uint8_t)g_zero.state;
      }

      /* —— 预备模式驱动（每轮）：通信统计喂入 + 状态机（HAL tick 时钟，
         通信死也走表）+ 标定提交/结果沿事件 —— */
      {
        double tNowSec = (double)HAL_GetTick() / 1000.0;
        QshStat_t stq[QSH_NCH];
        int32_t ccA, ccB;
        uint32_t agA, agB;
        uint8_t fresh;
        int committed;
        QshDrv_GetStats(stq);
        fresh = (uint8_t)(((QshDrv_Last(QSH_CH_A_REF, &ccA, &agA) != 0)
                           && (QshDrv_Last(QSH_CH_B_MEAS, &ccB, &agB) != 0)
                           && (agA < 500U) && (agB < 500U)) ? 1U : 0U);
        AppPrepNotifyComms(&g_prep, fresh,
                           stq[0].readOk + stq[1].readOk,
                           stq[0].crcErr + stq[0].frameErr
                           + stq[1].crcErr + stq[1].frameErr,
                           stq[0].ringDrop + stq[1].ringDrop);
        {
          /* 空盘噪声采样必须独立于显示分支（预备期间显示步骤码，
             实时质量分支不执行——曾致空盘判定恒无数据失败）*/
          int rdy2 = 0;
          double m2 = AppScaleLiveMass(&g_scale, &rdy2);
          AppPrepNotifyLive(&g_prep, rdy2, m2);
        }
        {
          /* KEY4 触发后：等建基线完成（--- 消失、ready=1）再进预备标定 */
          int calStart = 0;
          if (g_calReq != 0U)
          {
            int rdy4 = 0;
            (void)AppScaleLiveMass(&g_scale, &rdy4);
            if (rdy4 != 0)
            {
              g_calReq = 0U;
              calStart = 1;
              Dbg_Line("# CAL start (baseline ready)");
            }
          }
          committed = AppPrepPoll(&g_prep, &g_scale, tNowSec, calStart);
          if (calStart != 0)
          {
            EmitEvent((g_prep.state == PP_COMMS) ? "PREP_ENTER" : "PREP_ABORT");
          }
        }
        /* 段推进提示：空盘段→砝码段（该放砝码了）*/
        if ((g_prep.state == PP_PROMPT)
            && (g_prevSt == (uint8_t)PP_EMPTY))
        {
          Beeper_Tick();
        }
        if (committed != 0)
        {
          EmitEvent(g_prep.flash_ok != 0U ? "PREP_CAL_SAVED"
                                          : "PREP_CAL_FLASH_FAIL");
          Beeper_Ok();                            /* 2短：标定提交成功 */
          Dbg_Line("# PREP cal %s: k=%.2f r0=%.6f r1=%.6f drift=%+.2f g "
                   "flash_rc=%lu",
                   (g_prep.flash_ok != 0U) ? "saved" : "FLASH-FAIL(applied)",
                   g_scale.p.k_g_per_r, g_prep.r0, g_prep.r1,
                   g_prep.drift_g, (unsigned long)g_calib_flash_rc);
        }
        if ((g_prep.state == PP_RESULT) && (g_prevSt != (uint8_t)PP_RESULT))
        {
          EmitEvent("PREP_RESULT");
          if ((g_prep.result[0] != 0U) && (g_prep.result[1] != 0U)
              && (g_prep.result[2] != 0U))
          {
            Beeper_Ok();                          /* 全通过：2短 */
          }
          else
          {
            Beeper_Fail();                        /* 有失败位：3短 */
          }
          Dbg_Line("# PREP result=%u%u%u drift=%+.2f g "
                   "maxdev=%.3f n=%d",
                   g_prep.result[0], g_prep.result[1],
                   g_prep.result[2],
                   g_prep.drift_g,
                   g_prep.empty_maxdev, AppScaleCalibN(&g_scale));
        }
        g_prevSt = (uint8_t)g_prep.state;
      }

      /* —— 数码管 5Hz 刷新：预备 > 清零 > 锁定读数 > 实时 —— */
      /* 低电提醒：最高显示优先级，闪 "11.4U"（U=请充电）*/
      if ((g_lowBat != 0U) && (g_lowBatCancel == 0U))
      {
        if ((HAL_GetTick() - g_lastDispTick) >= 200U)
        {
          g_lastDispTick = HAL_GetTick();
          if (((HAL_GetTick() / 500U) & 1U) != 0U)
          {
            Bat_ShowVoltage();
          }
          else
          {
            DigitTube_ShowBlackScreen();
          }
        }
      }
      else if ((HAL_GetTick() - g_lastDispTick) >= 200U)
      {
        int disp = AppPrepDisplay(&g_prep,
                                  (double)HAL_GetTick() / 1000.0);
        g_lastDispTick = HAL_GetTick();
        if (disp < 0)
        {
          disp = AppZeroDisplay(&g_zero,
                                (double)HAL_GetTick() / 1000.0);
        }
        if (disp == -3)
        {
          /* 清零采集中：闪烁 "---"——正在取参考，勿放物/勿换姿态 */
          if (((HAL_GetTick() / 500U) & 1U) != 0U)
          {
            DigitTube_ShowDashes();
          }
          else
          {
            DigitTube_ShowBlackScreen();
          }
        }
        else if (disp >= 0)
        {
          DigitTube_ShowInteger(disp);       /* 预备步骤码/结果码、清零错误码 */
        }
        else
        {
          uint32_t nowTick = HAL_GetTick();
          if ((g_rdActive != 0U) || (nowTick < g_rdHoldUntil))
          {
            /* 锁定/冻结期：显示收敛的锁定读数（运动中稳定），
               可信度闪烁只作用于读数：常亮=可信/慢闪=勉强/快闪=超限 */
            if (g_rdLevel != 0U)
            {
              uint32_t half = (g_rdLevel == 1U) ? 500U : 250U;
              if (((nowTick / half) & 1U) != 0U)
              {
                DigitTube_ShowBlackScreen();   /* 闪烁熄灭半拍 */
              }
              else
              {
                DigitTube_SetValue((float)g_rdMass);
              }
            }
            else
            {
              DigitTube_SetValue((float)g_rdMass);
            }
          }
          else
          {
            /* 待机/放置爬升期：实时质量（克，1 位小数）。
               基线未建立（复位后 ~8s 配对回退+样本积累）或 k=0（未标定）
               时诚实显示闪烁 "---"——自信的 0.0 会诱导操作者在基线建立
               前放砝码，首个砝码被置零吸收（100g→0.0/500/−100 签名）。
               建基线期间 "---" 每次亮起同步一声 40ms 短鸣（1Hz）：操作者
               不看数码管也知道"还在自检/别放东西"，就绪后自动停止。*/
            int ready = 0;
            double m = AppScaleLiveMass(&g_scale, &ready);
            if (ready != 0)
            {
              g_warmupBeep = 0U;          /* 基线已建立：一次性关闭提示音 */
              g_blinkOn = 0U;
              DigitTube_SetValue((float)m);
            }
            else if (((nowTick / 500U) & 1U) != 0U)
            {
              /* 亮半拍上升沿：只响一次（显示 5Hz 刷新，不检测沿会连响 2~3 声）*/
              if (g_blinkOn == 0U)
              {
                g_blinkOn = 1U;
                if (g_warmupBeep != 0U)
                {
                  if (nowTick < 15000U)
                  {
                    Beeper_Tick();        /* 1 × 40ms */
                  }
                  else
                  {
                    g_warmupBeep = 0U;    /* 兜底：k=0/通信异常时最多提示 15s */
                  }
                }
              }
              DigitTube_ShowDashes();
            }
            else
            {
              g_blinkOn = 0U;
              DigitTube_ShowBlackScreen();
            }
          }
        }
      }

/* 1s 心跳（通信健康）+ 双通道内码调试行 */
      if ((HAL_GetTick() - lastBeat) >= 1000U)
      {
        int32_t ca = 0, cb = 0;
        uint32_t ageA = 0U, ageB = 0U;
        int hasA, hasB;

        lastBeat = HAL_GetTick();
        HeartbeatOnce();
        if (g_recAlgoHold != 0U)
        {
          Dbg_Line("# REC n=%lu cap=%u buf=0x%08X",
                   g_recCount, s_ringCap, g_recBufAddr);
        }
        {
          /* 算法状态一行：比值/基线/实时质量/k —— 标定 vs 读数路径
             差异定位（M-C4 台架诊断）*/
          int rdy = 0;
          double lv = AppScaleLiveMass(&g_scale, &rdy);
          Dbg_Line("# ALG t=%.3f k=%.1f r=%.6f base=%.6f live=%.1f(%u)",
                   g_sampleT,
                   g_scale.p.k_g_per_r, g_scale.last_r_clean,
                   g_scale.est.baseline, lv, (unsigned)rdy);
        }

        hasA = QshDrv_Last(QSH_CH_A_REF, &ca, &ageA);
        hasB = QshDrv_Last(QSH_CH_B_MEAS, &cb, &ageB);
        if (hasA && hasB)
        {
          Dbg_Line("# CODE A=%ld(%lums) B=%ld(%lums) drop=%lu", (long)ca,
                   (unsigned long)ageA, (long)cb, (unsigned long)ageB);
        }
        else if (hasA)
        {
          Dbg_Line("# CODE A=%ld(%lums) B=---", (long)ca, (unsigned long)ageA);
        }
        else if (hasB)
        {
          Dbg_Line("# CODE A=--- B=%ld(%lums)", (long)cb, (unsigned long)ageB);
        }
        else
        {
          Dbg_Line("# CODE A=--- B=---");
        }
      }

      /* —— 自动休眠：连续 SLEEP_QUIET_MS 空载（±3 g）→ 2 短鸣 → STOP —— */
#if (SLEEP_AUTO_ENABLE != 0)
      if (g_sleepPending == 0U)
      {
        if (SleepConditionOk() != 0)
        {
          uint32_t nowQ = HAL_GetTick();
          if (g_quietArmed == 0U)
          {
            g_quietArmed = 1U;
            g_quietT0 = nowQ;
          }
          else if ((uint32_t)(nowQ - g_quietT0) >= SLEEP_QUIET_MS)
          {
            Beeper_Ok();                    /* 滴滴两下 */
            g_sleepPending = 1U;
            g_sleepAt = nowQ + SLEEP_BEEP_SETTLE_MS;
            Dbg_Line("# SLEEP arm");
          }
        }
        else
        {
          g_quietArmed = 0U;                /* 中途被触碰/放物/操作：重新计时 */
        }
      }
      else if ((int32_t)(HAL_GetTick() - g_sleepAt) >= 0)
      {
        if (SleepConditionOk() != 0)
        {
          Dbg_Line("# SLEEP enter");
          RequestSleepReset();              /* 打标记 + 软复位，不返回 */
        }
        else
        {
          g_sleepPending = 0U;              /* 提示音期间被触碰：取消本次休眠 */
          g_quietArmed = 0U;
        }
      }
#endif /* SLEEP_AUTO_ENABLE */

      AppWdg_Feed();                        /* 主循环唯一常规喂狗点 */
    /* USER CODE END WHILE */

    }
  }
}

void SystemClock_Config(void)
{
  RCC_OscInitTypeDef RCC_OscInitStruct = {0};
  RCC_ClkInitTypeDef RCC_ClkInitStruct = {0};

  /** Configure the main internal regulator output voltage
  */
  __HAL_RCC_PWR_CLK_ENABLE();
  __HAL_PWR_VOLTAGESCALING_CONFIG(PWR_REGULATOR_VOLTAGE_SCALE1);

  /** Initializes the RCC Oscillators according to the specified parameters
  * in the RCC_OscInitTypeDef structure.
  */
  RCC_OscInitStruct.OscillatorType = RCC_OSCILLATORTYPE_HSI|RCC_OSCILLATORTYPE_LSI;
  RCC_OscInitStruct.HSIState = RCC_HSI_ON;
  RCC_OscInitStruct.HSICalibrationValue = RCC_HSICALIBRATION_DEFAULT;
  RCC_OscInitStruct.LSIState = RCC_LSI_ON;
  RCC_OscInitStruct.PLL.PLLState = RCC_PLL_ON;
  RCC_OscInitStruct.PLL.PLLSource = RCC_PLLSOURCE_HSI;
  RCC_OscInitStruct.PLL.PLLM = 8;
  RCC_OscInitStruct.PLL.PLLN = 168;
  RCC_OscInitStruct.PLL.PLLP = RCC_PLLP_DIV2;
  RCC_OscInitStruct.PLL.PLLQ = 4;
  if (HAL_RCC_OscConfig(&RCC_OscInitStruct) != HAL_OK)
  {
    Error_Handler();
  }

  /** Initializes the CPU, AHB and APB buses clocks
  */
  RCC_ClkInitStruct.ClockType = RCC_CLOCKTYPE_HCLK|RCC_CLOCKTYPE_SYSCLK
                              |RCC_CLOCKTYPE_PCLK1|RCC_CLOCKTYPE_PCLK2;
  RCC_ClkInitStruct.SYSCLKSource = RCC_SYSCLKSOURCE_PLLCLK;
  RCC_ClkInitStruct.AHBCLKDivider = RCC_SYSCLK_DIV1;
  RCC_ClkInitStruct.APB1CLKDivider = RCC_HCLK_DIV4;
  RCC_ClkInitStruct.APB2CLKDivider = RCC_HCLK_DIV2;

  if (HAL_RCC_ClockConfig(&RCC_ClkInitStruct, FLASH_LATENCY_5) != HAL_OK)
  {
    Error_Handler();
  }
}

void Error_Handler(void)
{
  __disable_irq();
  while (1)
  {
  }
}
